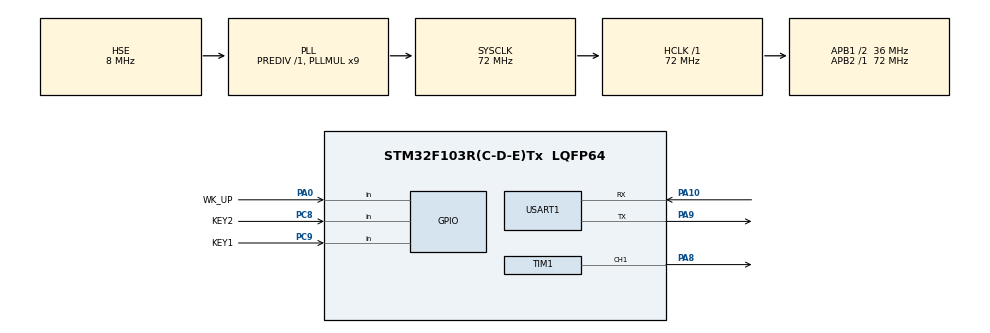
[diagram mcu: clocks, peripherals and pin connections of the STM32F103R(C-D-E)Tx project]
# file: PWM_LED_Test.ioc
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Mcu.Family=STM32F1
Mcu.Name=STM32F103R(C-D-E)Tx
Mcu.Package=LQFP64
NVIC.PriorityGroup=NVIC_PRIORITYGROUP_4
PA0-WKUP.GPIO_Label=WK_UP
PA0-WKUP.GPIO_PuPd=GPIO_PULLDOWN
PA0-WKUP.Signal=GPIO_Input
PA10.Mode=Asynchronous
PA10.Signal=USART1_RX
PA13.Mode=Serial_Wire
PA13.Signal=SYS_JTMS-SWDIO
PA14.Mode=Serial_Wire
PA14.Signal=SYS_JTCK-SWCLK
PA8.Signal=S_TIM1_CH1
PA9.Mode=Asynchronous
PA9.Signal=USART1_TX
PC8.GPIO_Label=KEY2
PC8.GPIO_PuPd=GPIO_PULLUP
PC8.Signal=GPIO_Input
PC9.GPIO_Label=KEY1
PC9.GPIO_PuPd=GPIO_PULLUP
PC9.Signal=GPIO_Input
PD0-OSC_IN.Mode=HSE-External-Oscillator
PD0-OSC_IN.Signal=RCC_OSC_IN
PD1-OSC_OUT.Mode=HSE-External-Oscillator
PD1-OSC_OUT.Signal=RCC_OSC_OUT
ProjectManager.HeapSize=0x200
ProjectManager.StackSize=0x400
ProjectManager.TargetToolchain=MDK-ARM V5.32
RCC.AHBFreq_Value=72000000
RCC.APB1CLKDivider=RCC_HCLK_DIV2
RCC.APB1Freq_Value=36000000
RCC.APB1TimFreq_Value=72000000
RCC.APB2Freq_Value=72000000
RCC.APB2TimFreq_Value=72000000
RCC.HCLKFreq_Value=72000000
RCC.PLLMUL=RCC_PLL_MUL9
RCC.PLLSourceVirtual=RCC_PLLSOURCE_HSE
RCC.SYSCLKFreq_VALUE=72000000
RCC.SYSCLKSource=RCC_SYSCLKSOURCE_PLLCLK
RCC.USBFreq_Value=72000000
SH.S_TIM1_CH1.0=TIM1_CH1,PWM Generation1 CH1
TIM1.AutoReloadPreload=TIM_AUTORELOAD_PRELOAD_ENABLE
TIM1.Channel-PWM\ Generation1\ CH1=TIM_CHANNEL_1
TIM1.Period=999
TIM1.Prescaler=71
USART1.VirtualMode=VM_ASYNC
VP_TIM1_VS_ClockSourceINT.Mode=Internal
board=custom

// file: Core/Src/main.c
/* USER CODE BEGIN Header */
/**
  ******************************************************************************
  * @file           : main.c
  * @brief          : Main program body
  ******************************************************************************
  * @attention
  *
  * Copyright (c) 2026 STMicroelectronics.
  * All rights reserved.
  *
  * This software is licensed under terms that can be found in the LICENSE file
  * in the root directory of this software component.
  * If no LICENSE file comes with this software, it is provided AS-IS.
  *
  ******************************************************************************
  */
/* USER CODE END Header */
#include "main.h"

/* USER CODE BEGIN Includes */
#include <string.h>
/* USER CODE END Includes */

TIM_HandleTypeDef htim1;

UART_HandleTypeDef huart1;

/* USER CODE BEGIN PV */
GPIO_PinState last_wkup_state;
GPIO_PinState last_key1_state;
GPIO_PinState last_key2_state;

int32_t pwm_value = 0;
int32_t pwm_step = 5;
uint32_t pwm_tick = 0;
/* USER CODE END PV */

void SystemClock_Config(void);
static void MX_GPIO_Init(void);
static void MX_USART1_UART_Init(void);
static void MX_TIM1_Init(void);

/* USER CODE BEGIN 0 */
static void UART_SendString(const char *str)
{
  HAL_UART_Transmit(&huart1,
                    (uint8_t *)str,
                    strlen(str),
                    HAL_MAX_DELAY);
}
/* USER CODE END 0 */

int main(void)
{

  /* MCU Configuration--------------------------------------------------------*/

  /* Reset of all peripherals, Initializes the Flash interface and the Systick. */
  HAL_Init();

  /* Configure the system clock */
  SystemClock_Config();

  /* Initialize all configured peripherals */
  MX_GPIO_Init();
  MX_USART1_UART_Init();
  MX_TIM1_Init();
  /* USER CODE BEGIN 2 */
  UART_SendString("\r\n");
  UART_SendString("Board_IO_UART_Test started.\r\n");
  UART_SendString("SYSCLK: 72 MHz\r\n");
  UART_SendString("USART1: 115200 8N1\r\n");
  UART_SendString("Press WK_UP, KEY1 or KEY2.\r\n");

  last_wkup_state = HAL_GPIO_ReadPin(WK_UP_GPIO_Port, WK_UP_Pin);
  last_key1_state = HAL_GPIO_ReadPin(KEY1_GPIO_Port, KEY1_Pin);
  last_key2_state = HAL_GPIO_ReadPin(KEY2_GPIO_Port, KEY2_Pin);

  if (HAL_TIM_PWM_Start(&htim1, TIM_CHANNEL_1) != HAL_OK)
{
  Error_Handler();
}

__HAL_TIM_SET_COMPARE(&htim1, TIM_CHANNEL_1, 0);
pwm_tick = HAL_GetTick();

UART_SendString("PWM_LED_Test started.\r\n");
UART_SendString("TIM1 CH1 PWM: 1 kHz\r\n");
  /* USER CODE END 2 */

  /* Infinite loop */
  /* USER CODE BEGIN WHILE */
  while (1)
  {
	  GPIO_PinState wkup_state;
  GPIO_PinState key1_state;
  GPIO_PinState key2_state;

  wkup_state = HAL_GPIO_ReadPin(WK_UP_GPIO_Port, WK_UP_Pin);
  key1_state = HAL_GPIO_ReadPin(KEY1_GPIO_Port, KEY1_Pin);
  key2_state = HAL_GPIO_ReadPin(KEY2_GPIO_Port, KEY2_Pin);

  /* LED每500毫秒翻转一次 */
  /* 每5毫秒改变一次占空比 */
  if (HAL_GetTick() - pwm_tick >= 5)
  {
    pwm_tick = HAL_GetTick();

    pwm_value += pwm_step;

   if (pwm_value >= 999)
  {
    pwm_value = 999;
    pwm_step = -5;
  }
  else if (pwm_value <= 0)
  {
    pwm_value = 0;
    pwm_step = 5;
  }

  __HAL_TIM_SET_COMPARE(&htim1,
                        TIM_CHANNEL_1,
                        (uint32_t)pwm_value);
}

  /* WK-UP：按下为高电平 */
  if (wkup_state != last_wkup_state)
  {
    HAL_Delay(20);
    wkup_state = HAL_GPIO_ReadPin(WK_UP_GPIO_Port, WK_UP_Pin);

    if (wkup_state != last_wkup_state)
    {
      last_wkup_state = wkup_state;

      if (wkup_state == GPIO_PIN_SET)
      {
        UART_SendString("WK_UP pressed\r\n");
      }
      else
      {
        UART_SendString("WK_UP released\r\n");
      }
    }
  }

  /* KEY1：按下为低电平 */
  if (key1_state != last_key1_state)
  {
    HAL_Delay(20);
    key1_state = HAL_GPIO_ReadPin(KEY1_GPIO_Port, KEY1_Pin);

    if (key1_state != last_key1_state)
    {
      last_key1_state = key1_state;

      if (key1_state == GPIO_PIN_RESET)
      {
        UART_SendString("KEY1 pressed\r\n");
      }
      else
      {
        UART_SendString("KEY1 released\r\n");
      }
    }
  }

  /* KEY2：按下为低电平 */
  if (key2_state != last_key2_state)
  {
    HAL_Delay(20);
    key2_state = HAL_GPIO_ReadPin(KEY2_GPIO_Port, KEY2_Pin);

    if (key2_state != last_key2_state)
    {
      last_key2_state = key2_state;

      if (key2_state == GPIO_PIN_RESET)
      {
        UART_SendString("KEY2 pressed\r\n");
      }
      else
      {
        UART_SendString("KEY2 released\r\n");
      }
    }
  }

  HAL_Delay(5);
    /* USER CODE END WHILE */

  }
}

void SystemClock_Config(void)
{
  RCC_OscInitTypeDef RCC_OscInitStruct = {0};
  RCC_ClkInitTypeDef RCC_ClkInitStruct = {0};

  /** Initializes the RCC Oscillators according to the specified parameters
  * in the RCC_OscInitTypeDef structure.
  */
  RCC_OscInitStruct.OscillatorType = RCC_OSCILLATORTYPE_HSE;
  RCC_OscInitStruct.HSEState = RCC_HSE_ON;
  RCC_OscInitStruct.HSEPredivValue = RCC_HSE_PREDIV_DIV1;
  RCC_OscInitStruct.HSIState = RCC_HSI_ON;
  RCC_OscInitStruct.PLL.PLLState = RCC_PLL_ON;
  RCC_OscInitStruct.PLL.PLLSource = RCC_PLLSOURCE_HSE;
  RCC_OscInitStruct.PLL.PLLMUL = RCC_PLL_MUL9;
  if (HAL_RCC_OscConfig(&RCC_OscInitStruct) != HAL_OK)
  {
    Error_Handler();
  }

  /** Initializes the CPU, AHB and APB buses clocks
  */
  RCC_ClkInitStruct.ClockType = RCC_CLOCKTYPE_HCLK|RCC_CLOCKTYPE_SYSCLK
                              |RCC_CLOCKTYPE_PCLK1|RCC_CLOCKTYPE_PCLK2;
  RCC_ClkInitStruct.SYSCLKSource = RCC_SYSCLKSOURCE_PLLCLK;
  RCC_ClkInitStruct.AHBCLKDivider = RCC_SYSCLK_DIV1;
  RCC_ClkInitStruct.APB1CLKDivider = RCC_HCLK_DIV2;
  RCC_ClkInitStruct.APB2CLKDivider = RCC_HCLK_DIV1;

  if (HAL_RCC_ClockConfig(&RCC_ClkInitStruct, FLASH_LATENCY_2) != HAL_OK)
  {
    Error_Handler();
  }
}

static void MX_TIM1_Init(void)
{

  TIM_ClockConfigTypeDef sClockSourceConfig = {0};
  TIM_MasterConfigTypeDef sMasterConfig = {0};
  TIM_OC_InitTypeDef sConfigOC = {0};
  TIM_BreakDeadTimeConfigTypeDef sBreakDeadTimeConfig = {0};

  htim1.Instance = TIM1;
  htim1.Init.Prescaler = 71;
  htim1.Init.CounterMode = TIM_COUNTERMODE_UP;
  htim1.Init.Period = 999;
  htim1.Init.ClockDivision = TIM_CLOCKDIVISION_DIV1;
  htim1.Init.RepetitionCounter = 0;
  htim1.Init.AutoReloadPreload = TIM_AUTORELOAD_PRELOAD_ENABLE;
  if (HAL_TIM_Base_Init(&htim1) != HAL_OK)
  {
    Error_Handler();
  }
  sClockSourceConfig.ClockSource = TIM_CLOCKSOURCE_INTERNAL;
  if (HAL_TIM_ConfigClockSource(&htim1, &sClockSourceConfig) != HAL_OK)
  {
    Error_Handler();
  }
  if (HAL_TIM_PWM_Init(&htim1) != HAL_OK)
  {
    Error_Handler();
  }
  sMasterConfig.MasterOutputTrigger = TIM_TRGO_RESET;
  sMasterConfig.MasterSlaveMode = TIM_MASTERSLAVEMODE_DISABLE;
  if (HAL_TIMEx_MasterConfigSynchronization(&htim1, &sMasterConfig) != HAL_OK)
  {
    Error_Handler();
  }
  sConfigOC.OCMode = TIM_OCMODE_PWM1;
  sConfigOC.Pulse = 0;
  sConfigOC.OCPolarity = TIM_OCPOLARITY_HIGH;
  sConfigOC.OCNPolarity = TIM_OCNPOLARITY_HIGH;
  sConfigOC.OCFastMode = TIM_OCFAST_DISABLE;
  sConfigOC.OCIdleState = TIM_OCIDLESTATE_RESET;
  sConfigOC.OCNIdleState = TIM_OCNIDLESTATE_RESET;
  if (HAL_TIM_PWM_ConfigChannel(&htim1, &sConfigOC, TIM_CHANNEL_1) != HAL_OK)
  {
    Error_Handler();
  }
  sBreakDeadTimeConfig.OffStateRunMode = TIM_OSSR_DISABLE;
  sBreakDeadTimeConfig.OffStateIDLEMode = TIM_OSSI_DISABLE;
  sBreakDeadTimeConfig.LockLevel = TIM_LOCKLEVEL_OFF;
  sBreakDeadTimeConfig.DeadTime = 0;
  sBreakDeadTimeConfig.BreakState = TIM_BREAK_DISABLE;
  sBreakDeadTimeConfig.BreakPolarity = TIM_BREAKPOLARITY_HIGH;
  sBreakDeadTimeConfig.AutomaticOutput = TIM_AUTOMATICOUTPUT_DISABLE;
  if (HAL_TIMEx_ConfigBreakDeadTime(&htim1, &sBreakDeadTimeConfig) != HAL_OK)
  {
    Error_Handler();
  }
  HAL_TIM_MspPostInit(&htim1);

}

static void MX_USART1_UART_Init(void)
{

  huart1.Instance = USART1;
  huart1.Init.BaudRate = 115200;
  huart1.Init.WordLength = UART_WORDLENGTH_8B;
  huart1.Init.StopBits = UART_STOPBITS_1;
  huart1.Init.Parity = UART_PARITY_NONE;
  huart1.Init.Mode = UART_MODE_TX_RX;
  huart1.Init.HwFlowCtl = UART_HWCONTROL_NONE;
  huart1.Init.OverSampling = UART_OVERSAMPLING_16;
  if (HAL_UART_Init(&huart1) != HAL_OK)
  {
    Error_Handler();
  }

}

static void MX_GPIO_Init(void)
{
  GPIO_InitTypeDef GPIO_InitStruct = {0};

  /* GPIO Ports Clock Enable */
  __HAL_RCC_GPIOD_CLK_ENABLE();
  __HAL_RCC_GPIOA_CLK_ENABLE();
  __HAL_RCC_GPIOC_CLK_ENABLE();

  /*Configure GPIO pin : WK_UP_Pin */
  GPIO_InitStruct.Pin = WK_UP_Pin;
  GPIO_InitStruct.Mode = GPIO_MODE_INPUT;
  GPIO_InitStruct.Pull = GPIO_PULLDOWN;
  HAL_GPIO_Init(WK_UP_GPIO_Port, &GPIO_InitStruct);

  /*Configure GPIO pins : KEY2_Pin KEY1_Pin */
  GPIO_InitStruct.Pin = KEY2_Pin|KEY1_Pin;
  GPIO_InitStruct.Mode = GPIO_MODE_INPUT;
  GPIO_InitStruct.Pull = GPIO_PULLUP;
  HAL_GPIO_Init(GPIOC, &GPIO_InitStruct);

}

void Error_Handler(void)
{
  __disable_irq();
  while (1)
  {
  }
}
